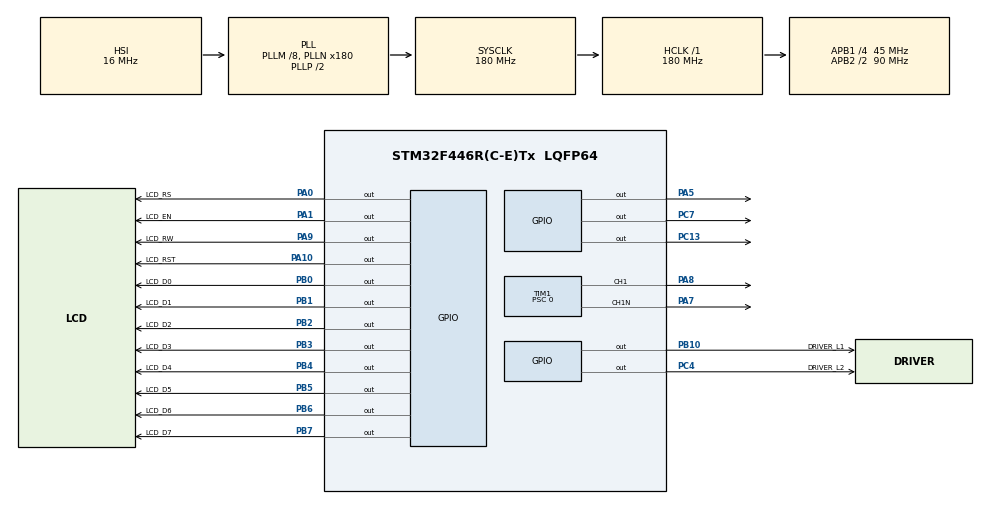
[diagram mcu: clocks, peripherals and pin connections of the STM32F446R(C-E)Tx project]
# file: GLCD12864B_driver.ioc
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Mcu.Family=STM32F4
Mcu.Name=STM32F446R(C-E)Tx
Mcu.Package=LQFP64
NVIC.PriorityGroup=NVIC_PRIORITYGROUP_4
NVIC.TIM1_UP_TIM10_IRQn=true\:0\:0\:false\:false\:true\:true\:true\:true
PA0-WKUP.GPIO_Label=LCD_RS
PA0-WKUP.Signal=GPIO_Output
PA1.GPIO_Label=LCD_EN
PA1.Signal=GPIO_Output
PA10.GPIO_Label=LCD_RST
PA10.Signal=GPIO_Output
PA5.Signal=GPIO_Output
PA7.Mode=PWM Generation1 CH1 CH1N
PA7.Signal=TIM1_CH1N
PA8.Signal=S_TIM1_CH1
PA9.GPIO_Label=LCD_RW
PA9.Signal=GPIO_Output
PB0.GPIO_Label=LCD_D0
PB0.Signal=GPIO_Output
PB1.GPIO_Label=LCD_D1
PB1.Signal=GPIO_Output
PB10.GPIO_Label=DRIVER_L1
PB10.Signal=GPIO_Output
PB2.GPIO_Label=LCD_D2
PB2.Signal=GPIO_Output
PB3.GPIO_Label=LCD_D3
PB3.Signal=GPIO_Output
PB4.GPIO_Label=LCD_D4
PB4.Signal=GPIO_Output
PB5.GPIO_Label=LCD_D5
PB5.Signal=GPIO_Output
PB6.GPIO_Label=LCD_D6
PB6.Signal=GPIO_Output
PB7.GPIO_Label=LCD_D7
PB7.Signal=GPIO_Output
PC13.Signal=GPIO_Output
PC4.GPIO_Label=DRIVER_L2
PC4.Signal=GPIO_Output
PC7.Signal=GPIO_Output
ProjectManager.HeapSize=0x2000
ProjectManager.StackSize=0x4000
ProjectManager.TargetToolchain=STM32CubeIDE
RCC.AHBFreq_Value=180000000
RCC.APB1CLKDivider=RCC_HCLK_DIV4
RCC.APB1Freq_Value=45000000
RCC.APB1TimFreq_Value=90000000
RCC.APB2CLKDivider=RCC_HCLK_DIV2
RCC.APB2Freq_Value=90000000
RCC.APB2TimFreq_Value=180000000
RCC.CortexFreq_Value=180000000
RCC.HCLKFreq_Value=180000000
RCC.PLLM=8
RCC.PLLN=180
RCC.SYSCLKFreq_VALUE=180000000
RCC.SYSCLKSource=RCC_SYSCLKSOURCE_PLLCLK
RCC.USBFreq_Value=180000000
RCC.VCOOutputFreq_Value=360000000
SH.S_TIM1_CH1.0=TIM1_CH1,PWM Generation1 CH1 CH1N
TIM1.AutoReloadPreload=TIM_AUTORELOAD_PRELOAD_ENABLE
TIM1.Channel-PWM\ Generation1\ CH1\ CH1N=TIM_CHANNEL_1
TIM1.CounterMode=TIM_COUNTERMODE_CENTERALIGNED1
TIM1.DeadTime=20
TIM1.OC1Preload_PWM=ENABLE
TIM1.OCNPolarity_1=TIM_OCNPOLARITY_HIGH
TIM1.Period=3599
TIM1.Prescaler=0
TIM1.TIM_MasterOutputTrigger=TIM_TRGO_UPDATE
TIM2.AutoReloadPreload=TIM_AUTORELOAD_PRELOAD_ENABLE
TIM2.Prescaler=180-1
VP_TIM1_VS_ClockSourceINT.Mode=Internal
VP_TIM2_VS_ClockSourceINT.Mode=Internal
board=custom

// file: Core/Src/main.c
/* USER CODE BEGIN Header */
/**
  ******************************************************************************
  * @file           : main.c
  * @brief          : Main program body
  ******************************************************************************
  * @attention
  *
  * Copyright (c) 2025 STMicroelectronics.
  * All rights reserved.
  *
  * This software is licensed under terms that can be found in the LICENSE file
  * in the root directory of this software component.
  * If no LICENSE file comes with this software, it is provided AS-IS.
  *
  ******************************************************************************
  */
/* USER CODE END Header */
#include "main.h"
#include "tim.h"
#include "gpio.h"

/* USER CODE BEGIN Includes */
#include "glcd12864b_driver.h"
#include "glcd12864_parallel.h"
#include "delay.h"
#include "bitmapimage.h"
#include "screens.h"

#include <stdlib.h>
#include <math.h>
/* USER CODE END Includes */

/* USER CODE BEGIN PV */

#define f_carrier 25000
#define f_fundamental_1 50
#define f_fundamental_2 67.5
#define TIMER_PERIOD 3599 //((72 MHz/25 KHz)/2)-1

const float PI = M_PI;
const float duty_coeff_1 = 0.741;
const float duty_coeff_2 = 1.0;
int Duty;
int k = 0;
int b = 0;
int f_fundamental;
int sampleNum;
float radVal;
float sineValue[1000];
float duty_coeff = duty_coeff_2;
/* USER CODE END PV */

void SystemClock_Config(void);

/* USER CODE BEGIN 0 */
/*Function for The Interrupt*/
void ISR_SINE(void) {
	if(b>1){
	  Duty = (int)(duty_coeff*TIMER_PERIOD*sineValue[k]);
	  if (k==0) {
		HAL_GPIO_WritePin(DRIVER_L1_GPIO_Port, DRIVER_L1_Pin, GPIO_PIN_RESET);
		TIM1->CCR1= 0;
	  }
	  if (k==(sampleNum/2)) {
		HAL_GPIO_WritePin(DRIVER_L2_GPIO_Port, DRIVER_L2_Pin, GPIO_PIN_RESET);
		TIM1->CCR1 = TIMER_PERIOD;
	  }
	  if (k>0 && k<(sampleNum/2))  {
		HAL_GPIO_WritePin(DRIVER_L2_GPIO_Port, DRIVER_L2_Pin, GPIO_PIN_SET);
		TIM1->CCR1 = Duty;
	  }
	  if (k>0 && k>(sampleNum/2) ) {
		HAL_GPIO_WritePin(DRIVER_L1_GPIO_Port, DRIVER_L1_Pin, GPIO_PIN_SET);
		TIM1->CCR1 = TIMER_PERIOD + Duty;
	  }
	  HAL_GPIO_TogglePin(GPIOA, GPIO_PIN_5);
	  k++;
	  if (k > sampleNum ) k=0;
	  b=0;
	}
	b++;
}
/* USER CODE END 0 */

int main(void)
{

  /* MCU Configuration--------------------------------------------------------*/

  /* Reset of all peripherals, Initializes the Flash interface and the Systick. */
  HAL_Init();

  /* Configure the system clock */
  SystemClock_Config();

  /* Initialize all configured peripherals */
  MX_GPIO_Init();
  MX_TIM1_Init();
  MX_TIM2_Init();
  /* USER CODE BEGIN 2 */
  HAL_GPIO_TogglePin(GPIOA, GPIO_PIN_5);
  sampleNum = (int)(f_carrier/f_fundamental_1);

  radVal = 2 * PI / sampleNum;

  for(int i=1;i<sampleNum+1;i++){
	      sineValue[i] = sin(radVal*(i));
  }

  delay_init ();
  TIM1->CCR1 = 1799;
  HAL_TIM_Base_Start_IT(&htim1);
  HAL_TIM_PWM_Start(&htim1, TIM_CHANNEL_1);
  HAL_TIMEx_PWMN_Start(&htim1, TIM_CHANNEL_1);

  //
//  LCD_Init();
//
//  lcd_clear();
//  HAL_Delay(1000);
//
////  drawFullGrid();
////// drawTestPattern();
//  drawString(1, 0, "HELLO STM32");
//  drawString(1, 25, "GRAPHIC LCD");
//  test_pixel();
//  //drawFullGrid();
//  st7920_update();

  delay_ms(100);
  lcd_init();
  delay_ms(100);

  lcd_cls();

//

  //lcd_draw_topbar();

  lcd_puts_3x5(1,2,"MIRI AIR+");
  lcd_draw_signalStrenght(89);

  lcd_draw_battery(2,105,50);
  lcd_draw_H_line(8,2,128);
  lcd_draw_V_line(8,8,64);
  lcd_update();

  HAL_GPIO_TogglePin(GPIOA, GPIO_PIN_5);
//  lcd_puts(20,10,"HUMIDITY");
//  lcd_puts(30,10,"PM 2.5");
//  lcd_puts(40,10,"PM 10");
//  lcd_puts(50,10,"CARBON DIOXIDE CO2");
//  lcd_update();
  menu_screen();

//	lcd_clear_buffer();
//	lcd_puts(10, 5, "GLCD READY");
//	lcd_update_();  // push framebuffer to LCD

//  uint8_t signal = 14;
//  uint8_t batt = 0;
  /* USER CODE END 2 */

  /* Infinite loop */
  /* USER CODE BEGIN WHILE */
  while (1)
  {
	  //lcd_draw_bitmap();
//	  lcd_draw_pointer(9,0);
//	  delay_ms(50);
//	  lcd_draw_pointer(20,0);
//	  delay_ms(50);
//	  lcd_draw_pointer(30,0);
//	  delay_ms(50);
//	  lcd_draw_pointer(40,0);
//	  delay_ms(50);
//	  lcd_draw_pointer(50,0);

//	  lcd_putstring_a(0, 0, "LCD 12864 ST7920", 0, 1);
//	  lcd_putstring_a(1, 0, " CIA SPACE ", 0, 0);
//	  lcd_putstring_a(2, 0, "Graphical Fonts:", 0, 0);
//	  lcd_putstring_a(3, 0, "8x8px.", 0, 0);
//	  lcd_putstring_a(4, 1, "LCD", 0, 1);
//	  lcd_putstring_a(5, 1, "CIA SPACE ", 0, 0);
//	  lcd_putstring_a(6, 1, "Graphical", 0, 1);
//	  lcd_putstring_a(7, 1, "8x8px.", 0, 0);
//
//	  lcd_putstring_a(4, 0, "16x8px.", 1, 0);
//
//	  lcd_putstring_b(6, 0, "16x16px.", 1);

//	  lcd_draw_signalStrenght(signal);
//	  lcd_draw_battery(2,105,batt);
//	  lcd_update();
//	  signal = random()%100;
//	  batt = random()%100;
//
//	  if(signal>=100)signal=14;
	  HAL_Delay(100);
	  HAL_GPIO_TogglePin(GPIOC,GPIO_PIN_7);
    /* USER CODE END WHILE */

  }
}

void SystemClock_Config(void)
{
  RCC_OscInitTypeDef RCC_OscInitStruct = {0};
  RCC_ClkInitTypeDef RCC_ClkInitStruct = {0};

  /** Configure the main internal regulator output voltage
  */
  __HAL_RCC_PWR_CLK_ENABLE();
  __HAL_PWR_VOLTAGESCALING_CONFIG(PWR_REGULATOR_VOLTAGE_SCALE1);

  /** Initializes the RCC Oscillators according to the specified parameters
  * in the RCC_OscInitTypeDef structure.
  */
  RCC_OscInitStruct.OscillatorType = RCC_OSCILLATORTYPE_HSI;
  RCC_OscInitStruct.HSIState = RCC_HSI_ON;
  RCC_OscInitStruct.HSICalibrationValue = RCC_HSICALIBRATION_DEFAULT;
  RCC_OscInitStruct.PLL.PLLState = RCC_PLL_ON;
  RCC_OscInitStruct.PLL.PLLSource = RCC_PLLSOURCE_HSI;
  RCC_OscInitStruct.PLL.PLLM = 8;
  RCC_OscInitStruct.PLL.PLLN = 180;
  RCC_OscInitStruct.PLL.PLLP = RCC_PLLP_DIV2;
  RCC_OscInitStruct.PLL.PLLQ = 2;
  RCC_OscInitStruct.PLL.PLLR = 2;
  if (HAL_RCC_OscConfig(&RCC_OscInitStruct) != HAL_OK)
  {
    Error_Handler();
  }

  /** Activate the Over-Drive mode
  */
  if (HAL_PWREx_EnableOverDrive() != HAL_OK)
  {
    Error_Handler();
  }

  /** Initializes the CPU, AHB and APB buses clocks
  */
  RCC_ClkInitStruct.ClockType = RCC_CLOCKTYPE_HCLK|RCC_CLOCKTYPE_SYSCLK
                              |RCC_CLOCKTYPE_PCLK1|RCC_CLOCKTYPE_PCLK2;
  RCC_ClkInitStruct.SYSCLKSource = RCC_SYSCLKSOURCE_PLLCLK;
  RCC_ClkInitStruct.AHBCLKDivider = RCC_SYSCLK_DIV1;
  RCC_ClkInitStruct.APB1CLKDivider = RCC_HCLK_DIV4;
  RCC_ClkInitStruct.APB2CLKDivider = RCC_HCLK_DIV2;

  if (HAL_RCC_ClockConfig(&RCC_ClkInitStruct, FLASH_LATENCY_5) != HAL_OK)
  {
    Error_Handler();
  }
}

void Error_Handler(void)
{
  __disable_irq();
  while (1)
  {
  }
}
